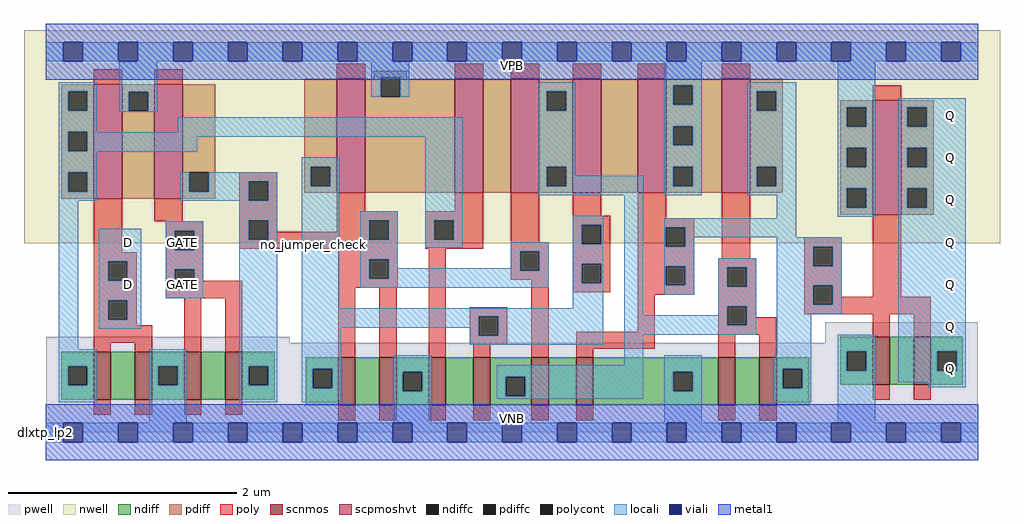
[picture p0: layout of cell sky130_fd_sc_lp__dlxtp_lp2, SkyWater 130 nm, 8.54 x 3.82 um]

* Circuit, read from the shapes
.subckt sky130_fd_sc_lp__dlxtp_lp2 D GATE VGND VNB VPB VPWR Q
XM1 n1 D n2 VNB sky130_fd_pr__nfet_01v8 w=0.42 l=0.15
XM2 VGND D n1 VNB sky130_fd_pr__nfet_01v8 w=0.42 l=0.15
XM3 n3 GATE VGND VNB sky130_fd_pr__nfet_01v8 w=0.42 l=0.15
XM4 n4 GATE n3 VNB sky130_fd_pr__nfet_01v8 w=0.42 l=0.15
XM5 n5 n4 n6 VNB sky130_fd_pr__nfet_01v8 w=0.42 l=0.15
XM6 VGND n4 n5 VNB sky130_fd_pr__nfet_01v8 w=0.42 l=0.15
XM7 n7 n2 VGND VNB sky130_fd_pr__nfet_01v8 w=0.42 l=0.15
XM8 n8 n6 n7 VNB sky130_fd_pr__nfet_01v8 w=0.42 l=0.15
XM9 n9 n4 n8 VNB sky130_fd_pr__nfet_01v8 w=0.42 l=0.15
XM10 VGND n10 n9 VNB sky130_fd_pr__nfet_01v8 w=0.42 l=0.15
XM11 n11 n8 VGND VNB sky130_fd_pr__nfet_01v8 w=0.42 l=0.15
XM12 n10 n8 n11 VNB sky130_fd_pr__nfet_01v8 w=0.42 l=0.15
XM13 n12 n10 VGND VNB sky130_fd_pr__nfet_01v8 w=0.42 l=0.15
XM14 Q n10 n12 VNB sky130_fd_pr__nfet_01v8 w=0.42 l=0.15
XM15 VPWR D n2 VPB sky130_fd_pr__pfet_01v8_hvt w=1 l=0.25
XM16 n4 GATE VPWR VPB sky130_fd_pr__pfet_01v8_hvt w=1 l=0.25
XM17 VPWR n4 n6 VPB sky130_fd_pr__pfet_01v8_hvt w=1 l=0.25
XM18 n13 n2 VPWR VPB sky130_fd_pr__pfet_01v8_hvt w=1 l=0.25
XM19 n8 n4 n13 VPB sky130_fd_pr__pfet_01v8_hvt w=1 l=0.25
XM20 n14 n6 n8 VPB sky130_fd_pr__pfet_01v8_hvt w=1 l=0.25
XM21 VPWR n10 n14 VPB sky130_fd_pr__pfet_01v8_hvt w=1 l=0.25
XM22 n10 n8 VPWR VPB sky130_fd_pr__pfet_01v8_hvt w=1 l=0.25
XM23 Q n10 VPWR VPB sky130_fd_pr__pfet_01v8_hvt w=1 l=0.25
.ends

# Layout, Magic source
magic
tech sky130A
magscale 1 2
<< nwell >>
rect -38 331 1670 704
<< pwell >>
rect 1 157 427 167
rect 1364 157 1631 193
rect 1 49 1631 157
rect 0 0 1632 49
<< scnmos >>
rect 84 57 114 141
rect 156 57 186 141
rect 242 57 272 141
rect 314 57 344 141
rect 512 47 542 131
rect 584 47 614 131
rect 670 47 700 131
rect 748 47 778 131
rect 850 47 880 131
rect 928 47 958 131
rect 1177 47 1207 131
rect 1249 47 1279 131
rect 1447 83 1477 167
rect 1519 83 1549 167
<< scpmoshvt >>
rect 84 409 134 609
rect 190 409 240 609
rect 509 419 559 619
rect 716 419 766 619
rect 814 419 864 619
rect 922 419 972 619
rect 1036 419 1086 619
rect 1183 419 1233 619
rect 1447 381 1497 581
<< ndiff >>
rect 27 116 84 141
rect 27 82 39 116
rect 73 82 84 116
rect 27 57 84 82
rect 114 57 156 141
rect 186 116 242 141
rect 186 82 197 116
rect 231 82 242 116
rect 186 57 242 82
rect 272 57 314 141
rect 344 116 401 141
rect 1390 142 1447 167
rect 344 82 355 116
rect 389 82 401 116
rect 344 57 401 82
rect 455 111 512 131
rect 455 77 467 111
rect 501 77 512 111
rect 455 47 512 77
rect 542 47 584 131
rect 614 106 670 131
rect 614 72 625 106
rect 659 72 670 106
rect 614 47 670 72
rect 700 47 748 131
rect 778 97 850 131
rect 778 63 805 97
rect 839 63 850 97
rect 778 47 850 63
rect 880 47 928 131
rect 958 106 1177 131
rect 958 72 1098 106
rect 1132 72 1177 106
rect 958 47 1177 72
rect 1207 47 1249 131
rect 1279 111 1336 131
rect 1279 77 1290 111
rect 1324 77 1336 111
rect 1390 108 1402 142
rect 1436 108 1447 142
rect 1390 83 1447 108
rect 1477 83 1519 167
rect 1549 142 1605 167
rect 1549 108 1560 142
rect 1594 108 1605 142
rect 1549 83 1605 108
rect 1279 47 1336 77
<< pdiff >>
rect 574 621 632 633
rect 574 619 586 621
rect 27 597 84 609
rect 27 563 39 597
rect 73 563 84 597
rect 27 526 84 563
rect 27 492 39 526
rect 73 492 84 526
rect 27 455 84 492
rect 27 421 39 455
rect 73 421 84 455
rect 27 409 84 421
rect 134 596 190 609
rect 134 562 145 596
rect 179 562 190 596
rect 134 409 190 562
rect 240 455 297 609
rect 452 465 509 619
rect 240 421 251 455
rect 285 421 297 455
rect 240 409 297 421
rect 452 431 464 465
rect 498 431 509 465
rect 452 419 509 431
rect 559 587 586 619
rect 620 619 632 621
rect 620 587 716 619
rect 559 419 716 587
rect 766 419 814 619
rect 864 597 922 619
rect 864 563 877 597
rect 911 563 922 597
rect 864 465 922 563
rect 864 431 877 465
rect 911 431 922 465
rect 864 419 922 431
rect 972 419 1036 619
rect 1086 607 1183 619
rect 1086 573 1098 607
rect 1132 573 1183 607
rect 1086 536 1183 573
rect 1086 502 1098 536
rect 1132 502 1183 536
rect 1086 465 1183 502
rect 1086 431 1098 465
rect 1132 431 1183 465
rect 1086 419 1183 431
rect 1233 597 1290 619
rect 1233 563 1244 597
rect 1278 563 1290 597
rect 1233 465 1290 563
rect 1233 431 1244 465
rect 1278 431 1290 465
rect 1233 419 1290 431
rect 1390 569 1447 581
rect 1390 535 1402 569
rect 1436 535 1447 569
rect 1390 498 1447 535
rect 1390 464 1402 498
rect 1436 464 1447 498
rect 1390 427 1447 464
rect 1390 393 1402 427
rect 1436 393 1447 427
rect 1390 381 1447 393
rect 1497 569 1554 581
rect 1497 535 1508 569
rect 1542 535 1554 569
rect 1497 498 1554 535
rect 1497 464 1508 498
rect 1542 464 1554 498
rect 1497 427 1554 464
rect 1497 393 1508 427
rect 1542 393 1554 427
rect 1497 381 1554 393
<< ndiffc >>
rect 39 82 73 116
rect 197 82 231 116
rect 355 82 389 116
rect 467 77 501 111
rect 625 72 659 106
rect 805 63 839 97
rect 1098 72 1132 106
rect 1290 77 1324 111
rect 1402 108 1436 142
rect 1560 108 1594 142
<< pdiffc >>
rect 39 563 73 597
rect 39 492 73 526
rect 39 421 73 455
rect 145 562 179 596
rect 251 421 285 455
rect 464 431 498 465
rect 586 587 620 621
rect 877 563 911 597
rect 877 431 911 465
rect 1098 573 1132 607
rect 1098 502 1132 536
rect 1098 431 1132 465
rect 1244 563 1278 597
rect 1244 431 1278 465
rect 1402 535 1436 569
rect 1402 464 1436 498
rect 1402 393 1436 427
rect 1508 535 1542 569
rect 1508 464 1542 498
rect 1508 393 1542 427
<< poly >>
rect 84 609 134 635
rect 190 609 240 635
rect 509 619 559 645
rect 339 439 405 455
rect 84 315 134 409
rect 190 369 240 409
rect 339 405 355 439
rect 389 405 405 439
rect 716 619 766 645
rect 814 619 864 645
rect 922 619 972 645
rect 1036 619 1086 645
rect 1183 619 1233 645
rect 1447 581 1497 607
rect 339 371 405 405
rect 210 353 276 369
rect 210 319 226 353
rect 260 319 276 353
rect 339 337 355 371
rect 389 351 405 371
rect 509 387 559 419
rect 716 387 766 419
rect 509 371 616 387
rect 509 351 566 371
rect 389 337 566 351
rect 600 337 616 371
rect 339 321 616 337
rect 664 371 766 387
rect 664 337 680 371
rect 714 337 766 371
rect 664 321 766 337
rect 814 333 864 419
rect 922 379 972 419
rect 922 363 988 379
rect 84 299 159 315
rect 84 265 109 299
rect 143 265 159 299
rect 84 231 159 265
rect 210 285 276 319
rect 210 251 226 285
rect 260 265 276 285
rect 512 303 616 321
rect 512 269 566 303
rect 600 269 616 303
rect 260 251 344 265
rect 210 235 344 251
rect 84 197 109 231
rect 143 197 159 231
rect 84 187 159 197
rect 84 157 186 187
rect 84 141 114 157
rect 156 141 186 157
rect 242 141 272 235
rect 314 141 344 235
rect 512 253 616 269
rect 512 131 542 253
rect 584 131 614 253
rect 670 131 700 321
rect 814 317 880 333
rect 814 283 830 317
rect 864 283 880 317
rect 814 267 880 283
rect 742 203 808 219
rect 742 169 758 203
rect 792 169 808 203
rect 742 153 808 169
rect 748 131 778 153
rect 850 131 880 267
rect 922 329 938 363
rect 972 329 988 363
rect 922 295 988 329
rect 922 261 938 295
rect 972 261 988 295
rect 922 245 988 261
rect 1036 375 1086 419
rect 1036 359 1135 375
rect 1036 325 1085 359
rect 1119 325 1135 359
rect 1036 291 1135 325
rect 1183 305 1233 419
rect 1327 325 1393 341
rect 1036 257 1085 291
rect 1119 257 1135 291
rect 1036 241 1135 257
rect 1177 289 1243 305
rect 1177 255 1193 289
rect 1227 255 1243 289
rect 1036 176 1066 241
rect 928 146 1066 176
rect 1177 221 1243 255
rect 1177 187 1193 221
rect 1227 201 1243 221
rect 1327 291 1343 325
rect 1377 291 1393 325
rect 1327 257 1393 291
rect 1327 223 1343 257
rect 1377 237 1393 257
rect 1447 237 1497 381
rect 1377 223 1549 237
rect 1327 207 1549 223
rect 1227 187 1279 201
rect 1177 171 1279 187
rect 928 131 958 146
rect 1177 131 1207 171
rect 1249 131 1279 171
rect 1447 167 1477 207
rect 1519 167 1549 207
rect 84 31 114 57
rect 156 31 186 57
rect 242 31 272 57
rect 314 31 344 57
rect 1447 57 1477 83
rect 1519 57 1549 83
rect 512 21 542 47
rect 584 21 614 47
rect 670 21 700 47
rect 748 21 778 47
rect 850 21 880 47
rect 928 21 958 47
rect 1177 21 1207 47
rect 1249 21 1279 47
<< polycont >>
rect 355 405 389 439
rect 226 319 260 353
rect 355 337 389 371
rect 566 337 600 371
rect 680 337 714 371
rect 109 265 143 299
rect 226 251 260 285
rect 566 269 600 303
rect 109 197 143 231
rect 830 283 864 317
rect 758 169 792 203
rect 938 329 972 363
rect 938 261 972 295
rect 1085 325 1119 359
rect 1085 257 1119 291
rect 1193 255 1227 289
rect 1193 187 1227 221
rect 1343 291 1377 325
rect 1343 223 1377 257
<< locali >>
rect 0 649 31 683
rect 65 649 127 683
rect 161 649 223 683
rect 257 649 319 683
rect 353 649 415 683
rect 449 649 511 683
rect 545 649 607 683
rect 641 649 703 683
rect 737 649 799 683
rect 833 649 895 683
rect 929 649 991 683
rect 1025 649 1087 683
rect 1121 649 1183 683
rect 1217 649 1279 683
rect 1313 649 1375 683
rect 1409 649 1471 683
rect 1505 649 1567 683
rect 1601 649 1632 683
rect 23 597 89 613
rect 23 563 39 597
rect 73 563 89 597
rect 23 526 89 563
rect 129 596 195 649
rect 129 562 145 596
rect 179 562 195 596
rect 570 621 636 649
rect 570 587 586 621
rect 620 587 636 621
rect 861 597 927 613
rect 129 561 195 562
rect 861 563 877 597
rect 911 563 927 597
rect 23 492 39 526
rect 73 525 89 526
rect 231 525 730 551
rect 73 517 730 525
rect 73 492 265 517
rect 23 491 265 492
rect 23 455 89 491
rect 448 465 514 481
rect 23 421 39 455
rect 73 421 89 455
rect 23 405 89 421
rect 235 421 251 455
rect 285 439 405 455
rect 285 421 355 439
rect 235 405 355 421
rect 389 405 405 439
rect 23 145 57 405
rect 339 371 405 405
rect 93 299 167 356
rect 93 265 109 299
rect 143 265 167 299
rect 93 231 167 265
rect 210 353 276 369
rect 210 319 226 353
rect 260 319 276 353
rect 210 285 276 319
rect 210 251 226 285
rect 260 251 276 285
rect 210 235 276 251
rect 339 337 355 371
rect 389 337 405 371
rect 93 197 109 231
rect 143 197 167 231
rect 93 181 167 197
rect 23 116 89 145
rect 23 82 39 116
rect 73 82 89 116
rect 23 53 89 82
rect 181 116 247 145
rect 181 82 197 116
rect 231 82 247 116
rect 181 17 247 82
rect 339 116 405 337
rect 339 82 355 116
rect 389 82 405 116
rect 339 53 405 82
rect 448 431 464 465
rect 498 431 514 465
rect 448 217 514 431
rect 550 371 616 387
rect 550 337 566 371
rect 600 337 616 371
rect 550 303 616 337
rect 664 371 730 517
rect 861 465 927 563
rect 861 431 877 465
rect 911 449 927 465
rect 1082 607 1148 649
rect 1082 573 1098 607
rect 1132 573 1148 607
rect 1082 536 1148 573
rect 1082 502 1098 536
rect 1132 502 1148 536
rect 1082 465 1148 502
rect 911 431 1046 449
rect 861 415 1046 431
rect 1082 431 1098 465
rect 1132 431 1148 465
rect 1082 415 1148 431
rect 1228 597 1313 613
rect 1228 563 1244 597
rect 1278 563 1313 597
rect 1228 465 1313 563
rect 1228 431 1244 465
rect 1278 431 1313 465
rect 1228 415 1313 431
rect 664 337 680 371
rect 714 337 730 371
rect 664 323 730 337
rect 922 363 976 379
rect 550 269 566 303
rect 600 287 616 303
rect 814 317 880 333
rect 814 287 830 317
rect 600 283 830 287
rect 864 283 880 317
rect 600 269 880 283
rect 550 253 880 269
rect 922 329 938 363
rect 972 329 976 363
rect 922 295 976 329
rect 922 261 938 295
rect 972 261 976 295
rect 922 217 976 261
rect 448 203 976 217
rect 448 183 758 203
rect 448 111 517 183
rect 742 169 758 183
rect 792 169 976 203
rect 742 153 976 169
rect 1012 205 1046 415
rect 1279 375 1313 415
rect 1386 569 1452 649
rect 1386 535 1402 569
rect 1436 535 1452 569
rect 1386 498 1452 535
rect 1386 464 1402 498
rect 1436 464 1452 498
rect 1386 427 1452 464
rect 1386 393 1402 427
rect 1436 393 1452 427
rect 1386 377 1452 393
rect 1492 569 1610 585
rect 1492 535 1508 569
rect 1542 535 1610 569
rect 1492 498 1610 535
rect 1492 464 1508 498
rect 1542 464 1610 498
rect 1492 427 1610 464
rect 1492 393 1508 427
rect 1542 393 1610 427
rect 1082 359 1313 375
rect 1082 325 1085 359
rect 1119 341 1313 359
rect 1119 325 1135 341
rect 1082 291 1135 325
rect 1279 325 1393 341
rect 1082 257 1085 291
rect 1119 257 1135 291
rect 1082 241 1135 257
rect 1177 289 1243 305
rect 1177 255 1193 289
rect 1227 255 1243 289
rect 1177 221 1243 255
rect 1177 205 1193 221
rect 1012 187 1193 205
rect 1227 187 1243 221
rect 1012 171 1243 187
rect 1279 291 1343 325
rect 1377 291 1393 325
rect 1279 257 1393 291
rect 1279 223 1343 257
rect 1377 223 1393 257
rect 1279 207 1393 223
rect 448 77 467 111
rect 501 77 517 111
rect 448 53 517 77
rect 609 106 675 135
rect 1012 117 1046 171
rect 1279 135 1340 207
rect 609 72 625 106
rect 659 72 675 106
rect 609 17 675 72
rect 789 97 1046 117
rect 789 63 805 97
rect 839 63 1046 97
rect 789 59 1046 63
rect 1082 106 1148 135
rect 1082 72 1098 106
rect 1132 72 1148 106
rect 1082 17 1148 72
rect 1274 111 1340 135
rect 1274 77 1290 111
rect 1324 77 1340 111
rect 1274 53 1340 77
rect 1386 142 1452 171
rect 1386 108 1402 142
rect 1436 108 1452 142
rect 1386 17 1452 108
rect 1492 142 1610 393
rect 1492 108 1560 142
rect 1594 108 1610 142
rect 1492 88 1610 108
rect 1544 79 1610 88
rect 0 -17 31 17
rect 65 -17 127 17
rect 161 -17 223 17
rect 257 -17 319 17
rect 353 -17 415 17
rect 449 -17 511 17
rect 545 -17 607 17
rect 641 -17 703 17
rect 737 -17 799 17
rect 833 -17 895 17
rect 929 -17 991 17
rect 1025 -17 1087 17
rect 1121 -17 1183 17
rect 1217 -17 1279 17
rect 1313 -17 1375 17
rect 1409 -17 1471 17
rect 1505 -17 1567 17
rect 1601 -17 1632 17
<< viali >>
rect 31 649 65 683
rect 127 649 161 683
rect 223 649 257 683
rect 319 649 353 683
rect 415 649 449 683
rect 511 649 545 683
rect 607 649 641 683
rect 703 649 737 683
rect 799 649 833 683
rect 895 649 929 683
rect 991 649 1025 683
rect 1087 649 1121 683
rect 1183 649 1217 683
rect 1279 649 1313 683
rect 1375 649 1409 683
rect 1471 649 1505 683
rect 1567 649 1601 683
rect 31 -17 65 17
rect 127 -17 161 17
rect 223 -17 257 17
rect 319 -17 353 17
rect 415 -17 449 17
rect 511 -17 545 17
rect 607 -17 641 17
rect 703 -17 737 17
rect 799 -17 833 17
rect 895 -17 929 17
rect 991 -17 1025 17
rect 1087 -17 1121 17
rect 1183 -17 1217 17
rect 1279 -17 1313 17
rect 1375 -17 1409 17
rect 1471 -17 1505 17
rect 1567 -17 1601 17
<< metal1 >>
rect 0 683 1632 715
rect 0 649 31 683
rect 65 649 127 683
rect 161 649 223 683
rect 257 649 319 683
rect 353 649 415 683
rect 449 649 511 683
rect 545 649 607 683
rect 641 649 703 683
rect 737 649 799 683
rect 833 649 895 683
rect 929 649 991 683
rect 1025 649 1087 683
rect 1121 649 1183 683
rect 1217 649 1279 683
rect 1313 649 1375 683
rect 1409 649 1471 683
rect 1505 649 1567 683
rect 1601 649 1632 683
rect 0 617 1632 649
rect 0 17 1632 49
rect 0 -17 31 17
rect 65 -17 127 17
rect 161 -17 223 17
rect 257 -17 319 17
rect 353 -17 415 17
rect 449 -17 511 17
rect 545 -17 607 17
rect 641 -17 703 17
rect 737 -17 799 17
rect 833 -17 895 17
rect 929 -17 991 17
rect 1025 -17 1087 17
rect 1121 -17 1183 17
rect 1217 -17 1279 17
rect 1313 -17 1375 17
rect 1409 -17 1471 17
rect 1505 -17 1567 17
rect 1601 -17 1632 17
rect 0 -49 1632 -17
<< labels >>
flabel pwell s 0 0 1632 49 0 FreeSans 200 0 0 0 VNB
port 4 nsew ground bidirectional
flabel nwell s 0 617 1632 666 0 FreeSans 200 0 0 0 VPB
port 5 nsew power bidirectional
rlabel comment s 0 0 0 0 4 dlxtp_lp2
flabel comment s 469 329 469 329 0 FreeSans 200 180 0 0 no_jumper_check
flabel metal1 s 0 617 1632 666 0 FreeSans 340 0 0 0 VPWR
port 6 nsew power bidirectional
flabel metal1 s 0 0 1632 49 0 FreeSans 340 0 0 0 VGND
port 3 nsew ground bidirectional
flabel locali s 223 242 257 276 0 FreeSans 340 0 0 0 GATE
port 2 nsew clock input
flabel locali s 223 316 257 350 0 FreeSans 340 0 0 0 GATE
port 2 nsew clock input
flabel locali s 127 242 161 276 0 FreeSans 340 0 0 0 D
port 1 nsew signal input
flabel locali s 127 316 161 350 0 FreeSans 340 0 0 0 D
port 1 nsew signal input
flabel locali s 1567 94 1601 128 0 FreeSans 340 0 0 0 Q
port 7 nsew signal output
flabel locali s 1567 168 1601 202 0 FreeSans 340 0 0 0 Q
port 7 nsew signal output
flabel locali s 1567 242 1601 276 0 FreeSans 340 0 0 0 Q
port 7 nsew signal output
flabel locali s 1567 316 1601 350 0 FreeSans 340 0 0 0 Q
port 7 nsew signal output
flabel locali s 1567 390 1601 424 0 FreeSans 340 0 0 0 Q
port 7 nsew signal output
flabel locali s 1567 464 1601 498 0 FreeSans 340 0 0 0 Q
port 7 nsew signal output
flabel locali s 1567 538 1601 572 0 FreeSans 340 0 0 0 Q
port 7 nsew signal output
<< properties >>
string LEFsite unit
string LEFclass CORE
string FIXED_BBOX 0 0 1632 666
string GDS_FILE $PDKPATH/libs.ref/sky130_fd_sc_lp/gds/sky130_fd_sc_lp.gds
string LEFsymmetry X Y R90
string GDS_END 234706
string GDS_START 223020
<< end >>
